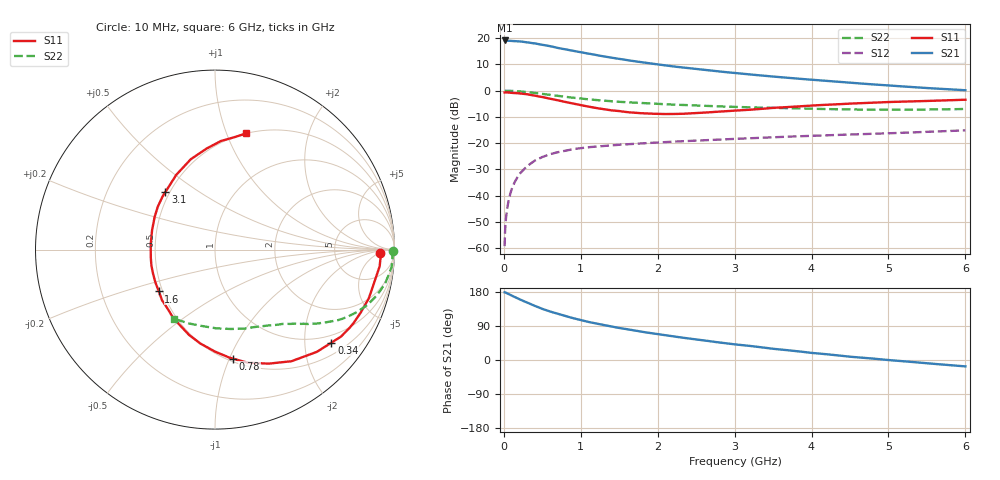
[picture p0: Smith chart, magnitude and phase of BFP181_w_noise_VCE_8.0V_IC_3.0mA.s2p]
! Infineon Technologies  Discrete & RF Semiconductors
! BFP181
! VCE = 8.0 V,  IC =  3.0 mA
! Common Emitter S-Parameters:  Jan 2016
# GHz  S  MA  R  50
!  f  S11  S21  S12  S22
! GHz  MAG  ANG  MAG  ANG  MAG  ANG  MAG  ANG
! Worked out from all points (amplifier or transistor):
!   210 points, 10 MHz to 6 GHz, reference 50 ohm
!   highest |S21| = 19.1 dB at 10 MHz (marker M1)
!   |S21| within 3 dB of that: start of sweep to 731.6 MHz
!   unconditionally stable (mu >= 1): 2.237 GHz to end of sweep
!   at 185 MHz: K = 0.13, MSG = 25.6 dB, |S12| = -32.5 dB
!   at 1.52 GHz: K = 0.78, MSG = 16.3 dB, |S12| = -20.6 dB
!   at 6 GHz: K = 1.10, MAG = 5.7 dB, |S12| = -15.1 dB
!   lowest NFmin = 1.40 dB at 450 MHz
!   S11 on the Smith chart (normalised r, x): 10 MHz: 22, -6; 340 MHz: 0.79, -2.65; 780 MHz: 0.53, -1.03; 1.6 GHz: 0.48, -0.26; 3.1 GHz: 0.47, +0.37; 6 GHz: 0.50, +1.17
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0.01  0.9178 -1.3  8.974 178.7  0.0011 89.5  0.9936 -0.4
0.02  0.9238 -2.5  8.93 178.2  0.0028 97.6  0.988 -1.0
0.03  0.9229 -3.6  8.91 177.1  0.004 94.3  0.9887 -1.6
0.09  0.908 -10.7  8.806 171.2  0.0118 82.6  0.9889 -5.0
0.22  0.8784 -25.6  8.575 158.8  0.0276 74.7  0.9618 -11.8
0.34  0.8302 -38.6  8.107 148.6  0.0401 67.2  0.9237 -17.3
0.4  0.8042 -45.1  7.888 143.0  0.0462 64.3  0.904 -19.9
0.5  0.7538 -55.6  7.436 134.9  0.0545 58.8  0.8661 -23.6
0.6  0.7023 -64.8  7.015 128.0  0.0617 54.7  0.8282 -26.9
0.7  0.6549 -74.0  6.477 121.7  0.0673 50.6  0.7923 -29.7
0.78  0.6161 -80.5  6.176 117.0  0.071 48.2  0.7665 -31.4
1.02  0.5221 -100.4  5.288 104.3  0.0807 42.1  0.7006 -36.0
1.1  0.4965 -107.0  5.058 100.3  0.0837 40.6  0.6815 -37.2
1.3  0.4435 -122.2  4.462 92.2  0.0884 37.1  0.6427 -40.0
1.6  0.3899 -143.3  3.793 81.3  0.0955 33.8  0.6001 -43.5
1.8  0.3703 -158.7  3.449 74.3  0.0992 32.3  0.5764 -45.8
2.02  0.3596 -174.0  3.118 67.7  0.1034 30.6  0.5554 -48.4
2.4  0.3669 162.8  2.674 56.8  0.1104 28.3  0.526 -53.3
3.1  0.423 130.9  2.093 39.2  0.1223 24.8  0.4842 -63.0
4.1  0.5285 102.8  1.565 17.0  0.1396 20.0  0.4476 -80.6
5.1  0.6108 85.6  1.222 -1.7  0.1559 15.6  0.4316 -101.2
6  0.67 75.0  1.015 -16.9  0.1751 11.4  0.4472 -120.5
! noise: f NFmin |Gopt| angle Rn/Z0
0.45  1.4  0.56  17  0.36
0.9  1.5  0.45  35  0.34
1.8  1.85  0.25  82  0.36
